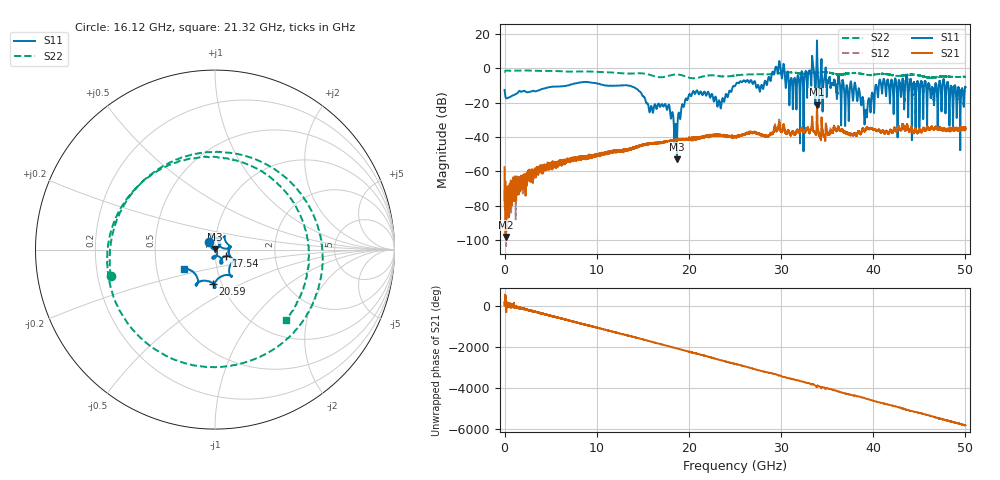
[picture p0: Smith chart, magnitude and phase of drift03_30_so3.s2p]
!Created with skrf (http://scikit-rf.org).
# Hz S RI R 50.0
!freq ReS11 ImS11 ReS21 ImS21 ReS12 ImS12 ReS22 ImS22
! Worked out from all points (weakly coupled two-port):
!   10001 points, 300 kHz to 50 GHz, reference 50 ohm
!   highest |S21| = -21.21 dB at 33.9 GHz (marker M1); lowest = -98.2 dB at 105.3 MHz (marker M2)
!   lowest |S11| = -53.0 dB at 18.7 GHz (marker M3), VSWR 1.00, Z = 50 + j0.219 ohm
!   |S11| at or under -10 dB: start of sweep to 6.945 GHz; 13.31 GHz to 25.05 GHz (11.73 GHz wide, 61.2 % of centre); 38.08 GHz to 40.26 GHz (2.183 GHz wide, 5.57 % of centre) (the widest 3 of 58)
!   |S22| runs from -5.9 to -1.3 dB; largest |S21 - S12| = 0.0069
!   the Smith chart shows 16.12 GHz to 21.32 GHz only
!   S11 on the Smith chart (normalised r, x): 16.12 GHz: 0.94, +0.08; 17.54 GHz: 1.13, -0.08; 20.59 GHz: 0.91, -0.36; 21.32 GHz: 0.69, -0.16
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300000  -0.2095 -0.1005  -0.00118 0.000548  0.000586 6.54e-05  -0.7685 -0.1907
1.052994e8  -0.1304 0.0603  3.21e-06 -1.19e-05  0.000138 6.61e-05  -0.8259 0.1611
1.530291e9  0.2031 0.0457  -0.000137 -0.000472  -1.54e-05 -0.000554  0.8481 0.0856
3.160281e9  -0.2185 -0.00854  -9.2e-05 0.000786  -4.79e-05 0.000734  -0.8444 -0.0247
4.665272e9  0.2635 0.061  0.000105 -0.00127  7.7e-06 -0.00148  0.8182 0.1422
6.360262e9  -0.2995 0.000726  0.000719 0.00194  0.000572 0.00183  -0.804 -0.0421
8.33525e9  0.2835 -0.2675  -0.00231 -0.000786  -0.00244 -0.000902  0.6011 -0.5361
1.043024e10  -0.0427 0.3322  0.00272 -0.00191  0.00255 -0.00202  -0.0373 0.7706
1.201523e10  0.00658 -0.3081  -0.00281 0.00258  -0.0028 0.00248  0.1061 -0.7267
1.61152e10  -0.0315 0.0409  0.00619 0.00195  0.00617 0.00208  -0.5801 -0.1493
1.66702e10  0.0547 0.0753  0.00447 -0.00497  0.00482 -0.00499  -0.3573 0.4189
1.754019e10  0.0638 -0.0355  -0.00644 -0.00377  -0.00624 -0.00378  0.5032 0.2749
1.869519e10  -0.00047 0.0022  0.00233 0.00787  0.00257 0.008  -0.088 -0.6489
2.058518e10  -0.0102 -0.1911  -0.00786 -0.00406  -0.00802 -0.00415  0.3831 0.3333
2.132017e10  -0.1707 -0.1075  -0.00562 0.00811  -0.00485 0.0086  0.3954 -0.3918
2.500015e10  -0.2971 -0.048  0.00764 0.00656  0.00768 0.00646  -0.1861 -0.5825
3.051012e10  0.2459 -0.1047  -0.00223 0.0124  -0.00244 0.0126  0.7411 -0.0612
3.213011e10  0.2023 0.3717  -0.00075 -0.0149  -0.00059 -0.015  -0.695 0.0104
3.33351e10  0.4506 -1.014  -0.00352 0.0258  -0.00586 0.0241  0.613 0.3653
3.38951e10  -0.9268 -6.332  0.0868 0.00541  0.0815 0.00454  0.6769 -0.3195
4.167005e10  -0.2149 0.2863  -0.0118 -0.0045  -0.0117 -0.00512  -0.6524 -0.0532
5e10  -0.1444 -0.2458  0.00204 -0.0192  0.00061 -0.0164  0.4675 -0.3134
